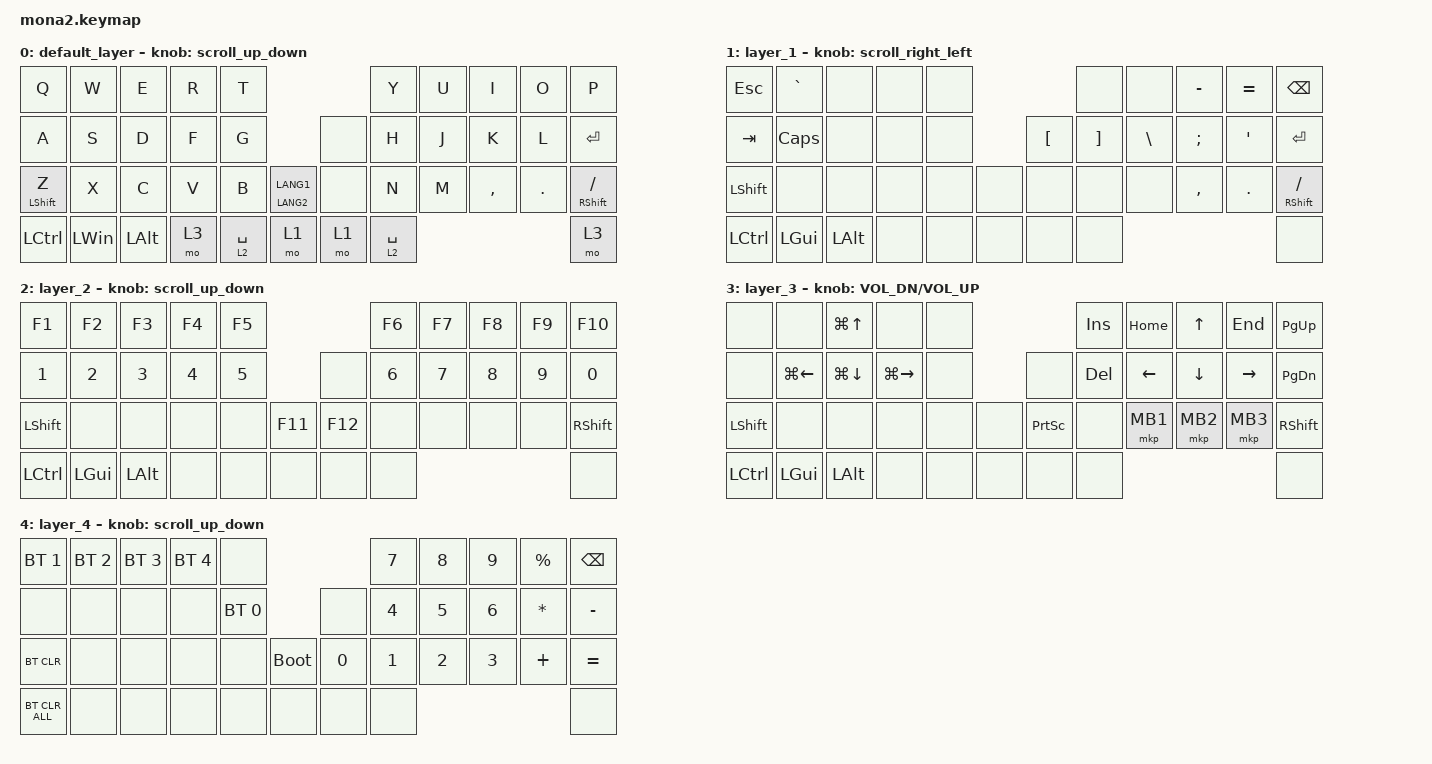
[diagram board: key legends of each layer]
#include <input/processors.dtsi>
#include <dt-bindings/zmk/input_transform.h>
#include <zephyr/dt-bindings/input/input-event-codes.h>
#include <behaviors.dtsi>
#include <dt-bindings/zmk/bt.h>
#include <dt-bindings/zmk/keys.h>
#include <dt-bindings/zmk/pointing.h>

#define ZMK_POINTING_DEFAULT_SCRL_VAL 100
#define MOUSE 5
#define SCROLL 6

&mt {
    flavor = "balanced";
    quick-tap-ms = <0>;
};

&lt {
    quick-tap-ms = <300>;
    flavor = "balanced";
};

/ {
    combos {
        compatible = "zmk,combos";

        layar4 {
            bindings = <&mo 4>;
            key-positions = <38 37>;
        };

        layer4 {
            bindings = <&mo 4>;
            key-positions = <39 40>;
        };
    };

    macros {
        to_layer_0: to_layer_0 {
            compatible = "zmk,behavior-macro-one-param";
            #binding-cells = <1>;
            bindings = <&to 0 &macro_param_1to1 &kp MACRO_PLACEHOLDER>;
            label = "TO_LAYER_0";
        };
    };

    behaviors {
        lt_to_layer_0: lt_to_layer_0 {
            compatible = "zmk,behavior-hold-tap";
            label = "LAYER_TAP_TO_0";
            bindings = <&mo>, <&to_layer_0>;

            #binding-cells = <2>;
            tapping-term-ms = <200>;
        };

        scroll_up_down: mouse_wheel_up_down {
            compatible = "zmk,behavior-sensor-rotate";
            #sensor-binding-cells = <0>;
            bindings = <&msc SCRL_DOWN>, <&msc SCRL_UP>;

            tap-ms = <20>;
        };

        scroll_right_left: mouse_wheel_right_left {
            compatible = "zmk,behavior-sensor-rotate";
            #sensor-binding-cells = <0>;
            bindings = <&msc SCRL_LEFT>, <&msc SCRL_RIGHT>;

            tap-ms = <20>;
        };
    };

    keymap {
        compatible = "zmk,keymap";

        default_layer {
            bindings = <
&kp Q             &kp W         &kp E     &kp R  &kp T                                  &kp Y        &kp U  &kp I      &kp O    &kp P
&kp A             &kp S         &kp D     &kp F  &kp G                           &none  &kp H        &kp J  &kp K      &kp L    &kp ENTER
&mt LEFT_SHIFT Z  &kp X         &kp C     &kp V  &kp B        &mt LANG2 LANG1    &none  &kp N        &kp M  &kp COMMA  &kp DOT  &mt RIGHT_SHIFT SLASH
&kp LCTRL         &kp LEFT_WIN  &kp LALT  &mo 3  &lt 2 SPACE  &mo 1              &mo 1  &lt 2 SPACE                             &mo 3
            >;

            sensor-bindings = <&scroll_up_down>;
        };

        layer_1 {
            bindings = <
&kp ESC    &kp GRAVE  &none     &none  &none                     &none     &none     &kp MINUS  &kp EQUAL  &kp BSPC
&kp TAB    &kp CAPS   &none     &none  &none           &kp LBKT  &kp RBKT  &kp BSLH  &kp SEMI   &kp SQT    &kp RET
&kp LSHFT  &none      &none     &none  &none  &none    &none     &none     &none     &kp COMMA  &kp DOT    &mt RSHFT SLASH
&kp LCTRL  &kp LGUI   &kp LALT  &none  &none  &none    &none     &none                                     &none
            >;

            sensor-bindings = <&scroll_right_left>;
        };

        layer_2 {
            bindings = <
&kp F1     &kp F2    &kp F3    &kp F4  &kp F5                      &kp F6  &kp F7  &kp F8  &kp F9  &kp F10
&kp N1     &kp N2    &kp N3    &kp N4  &kp N5             &none    &kp N6  &kp N7  &kp N8  &kp N9  &kp N0
&kp LSHFT  &none     &none     &none   &none   &kp F11    &kp F12  &none   &none   &none   &none   &kp RSHFT
&kp LCTRL  &kp LGUI  &kp LALT  &none   &none   &none      &none    &none                           &none
            >;

            sensor-bindings = <&scroll_up_down>;
        };

        layer_3 {
            bindings = <
&none      &none         &kp LG(UP)    &none          &none                            &kp INS  &kp HOME        &kp UP_ARROW    &kp END          &kp PG_UP
&none      &kp LG(LEFT)  &kp LG(DOWN)  &kp LG(RIGHT)  &none           &none            &kp DEL  &kp LEFT_ARROW  &kp DOWN_ARROW  &kp RIGHT_ARROW  &kp PG_DN
&kp LSHFT  &none         &none         &none          &none  &none    &kp PRINTSCREEN  &none    &mkp MB1        &mkp MB2        &mkp MB3         &kp RSHFT
&kp LCTRL  &kp LGUI      &kp LALT      &none          &none  &none    &none            &none                                                     &none
            >;

            sensor-bindings = <&inc_dec_kp C_VOL_DN C_VOL_UP>;
        };

        layer_4 {
            bindings = <
&bt BT_SEL 1    &bt BT_SEL 2  &bt BT_SEL 3  &bt BT_SEL 4  &none                                &kp N7  &kp N8  &kp N9  &kp PERCENT   &kp BSPC
&none           &none         &none         &none         &bt BT_SEL 0                 &none   &kp N4  &kp N5  &kp N6  &kp ASTERISK  &kp MINUS
&bt BT_CLR      &none         &none         &none         &none         &bootloader    &kp N0  &kp N1  &kp N2  &kp N3  &kp PLUS      &kp EQUAL
&bt BT_CLR_ALL  &none         &none         &none         &none         &none          &none   &none                                 &none
            >;

            sensor-bindings = <&scroll_up_down>;
        };
    };
};
